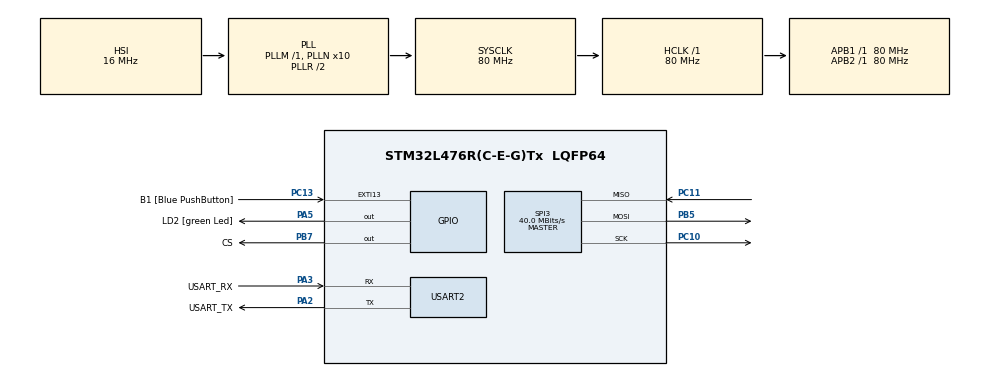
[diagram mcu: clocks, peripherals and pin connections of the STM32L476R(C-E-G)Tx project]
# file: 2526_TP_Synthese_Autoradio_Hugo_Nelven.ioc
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FREERTOS.Tasks01=defaultTask,0,128,StartDefaultTask,Default,NULL,Dynamic,NULL,NULL
FREERTOS.configTOTAL_HEAP_SIZE=30000
FREERTOS.configUSE_NEWLIB_REENTRANT=1
Mcu.Family=STM32L4
Mcu.Name=STM32L476R(C-E-G)Tx
Mcu.Package=LQFP64
NVIC.PriorityGroup=NVIC_PRIORITYGROUP_4
NVIC.SPI3_IRQn=true\:5\:0\:false\:false\:true\:true\:true\:true\:true
NVIC.TIM6_DAC_IRQn=true\:15\:0\:false\:false\:true\:false\:false\:true\:true
NVIC.TimeBase=TIM6_DAC_IRQn
NVIC.TimeBaseIP=TIM6
NVIC.USART2_IRQn=true\:5\:0\:false\:false\:true\:true\:true\:true\:true
PA13\ (JTMS-SWDIO).GPIO_Label=TMS
PA13\ (JTMS-SWDIO).Mode=Serial_Wire
PA13\ (JTMS-SWDIO).Signal=SYS_JTMS-SWDIO
PA14\ (JTCK-SWCLK).GPIO_Label=TCK
PA14\ (JTCK-SWCLK).Mode=Serial_Wire
PA14\ (JTCK-SWCLK).Signal=SYS_JTCK-SWCLK
PA2.GPIO_Label=USART_TX
PA2.GPIO_Mode=GPIO_MODE_AF_PP
PA2.GPIO_PuPd=GPIO_NOPULL
PA2.GPIO_Speed=GPIO_SPEED_FREQ_VERY_HIGH
PA2.Mode=Asynchronous
PA2.Signal=USART2_TX
PA3.GPIO_Label=USART_RX
PA3.GPIO_Mode=GPIO_MODE_AF_PP
PA3.GPIO_PuPd=GPIO_NOPULL
PA3.GPIO_Speed=GPIO_SPEED_FREQ_VERY_HIGH
PA3.Mode=Asynchronous
PA3.Signal=USART2_RX
PA5.GPIO_Label=LD2 [green Led]
PA5.GPIO_ModeDefaultOutputPP=GPIO_MODE_OUTPUT_PP
PA5.GPIO_PuPd=GPIO_NOPULL
PA5.GPIO_Speed=GPIO_SPEED_FREQ_LOW
PA5.Signal=GPIO_Output
PB3\ (JTDO-TRACESWO).GPIO_Label=SWO
PB3\ (JTDO-TRACESWO).Signal=SYS_JTDO-SWO
PB5.Mode=Full_Duplex_Master
PB5.Signal=SPI3_MOSI
PB7.GPIO_Label=CS
PB7.Signal=GPIO_Output
PC10.Mode=Full_Duplex_Master
PC10.Signal=SPI3_SCK
PC11.Mode=Full_Duplex_Master
PC11.Signal=SPI3_MISO
PC13.GPIO_Label=B1 [Blue PushButton]
PC13.GPIO_ModeDefaultEXTI=GPIO_MODE_IT_FALLING
PC13.GPIO_PuPd=GPIO_NOPULL
PC13.Signal=GPXTI13
PC14-OSC32_IN\ (PC14).Mode=LSE-External-Oscillator
PC14-OSC32_IN\ (PC14).Signal=RCC_OSC32_IN
PC15-OSC32_OUT\ (PC15).Mode=LSE-External-Oscillator
PC15-OSC32_OUT\ (PC15).Signal=RCC_OSC32_OUT
PH0-OSC_IN\ (PH0).Signal=RCC_OSC_IN
PH1-OSC_OUT\ (PH1).Signal=RCC_OSC_OUT
ProjectManager.HeapSize=0x200
ProjectManager.StackSize=0x400
ProjectManager.TargetToolchain=STM32CubeIDE
RCC.ADCFreq_Value=64000000
RCC.AHBFreq_Value=80000000
RCC.APB1Freq_Value=80000000
RCC.APB1TimFreq_Value=80000000
RCC.APB2Freq_Value=80000000
RCC.APB2TimFreq_Value=80000000
RCC.CortexFreq_Value=80000000
RCC.HCLKFreq_Value=80000000
RCC.HSE_VALUE=8000000
RCC.HSI_VALUE=16000000
RCC.MSI_VALUE=4000000
RCC.PLLN=10
RCC.PLLSourceVirtual=RCC_PLLSOURCE_HSI
RCC.PREFETCH_ENABLE=1
RCC.SYSCLKFreq_VALUE=80000000
RCC.SYSCLKSource=RCC_SYSCLKSOURCE_PLLCLK
RCC.USBFreq_Value=64000000
RCC.VCOOutputFreq_Value=160000000
SPI3.CalculateBaudRate=40.0 MBits/s
SPI3.DataSize=SPI_DATASIZE_4BIT
SPI3.Direction=SPI_DIRECTION_2LINES
SPI3.Mode=SPI_MODE_MASTER
SPI3.VirtualType=VM_MASTER
USART2.VirtualMode-Asynchronous=VM_ASYNC
VP_FREERTOS_VS_CMSIS_V1.Mode=CMSIS_V1
VP_SYS_VS_tim6.Mode=TIM6
board=NUCLEO-L476RG

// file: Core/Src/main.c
/* USER CODE BEGIN Header */
/**
 ******************************************************************************
 * @file           : main.c
 * @brief          : Main program body
 ******************************************************************************
 * @attention
 *
 * Copyright (c) 2025 STMicroelectronics.
 * All rights reserved.
 *
 * This software is licensed under terms that can be found in the LICENSE file
 * in the root directory of this software component.
 * If no LICENSE file comes with this software, it is provided AS-IS.
 *
 ******************************************************************************
 */
/* USER CODE END Header */
#include "main.h"
#include "cmsis_os.h"
#include "spi.h"
#include "usart.h"
#include "gpio.h"

/* USER CODE BEGIN Includes */
#include <stdio.h>
#include <stdlib.h> // pour atoi function

#include "shell.h"
#include "chenille.h"
/* USER CODE END Includes */

void SystemClock_Config(void);
void MX_FREERTOS_Init(void);

/* USER CODE BEGIN 0 */
int __io_putchar(int chr)
{
	HAL_UART_Transmit(&huart2, (uint8_t*)&chr, 1, HAL_MAX_DELAY);
	return chr;
}

uint8_t drv_uart_receive(char * pData, uint16_t size)
{
	HAL_UART_Receive(&huart2, (uint8_t*)pData, size, HAL_MAX_DELAY);
	return 0;
}

uint8_t drv_uart_transmit(char * pData, uint16_t size)
{
	HAL_UART_Transmit(&huart2, (uint8_t*)pData, size, HAL_MAX_DELAY);
	return 0;
}

h_shell_t h_shell =
{
		.drv_shell = {
				.drv_shell_transmit = drv_uart_transmit,
				.drv_shell_receive = drv_uart_receive
		}
};

int fonction(h_shell_t * h_shell, int argc, char ** argv)
{
	printf("Je suis une fonction bidon\r\n");

	printf("argc = %d\r\n", argc);

	for (int i = 0 ; i < argc ; i++)
	{
		printf("argv[%d] = %s\r\n", i, argv[i]);
	}

	return 0;
}

int addition(h_shell_t * h_shell, int argc, char ** argv)
{
	if (argc != 3)
	{
		printf("Error: expected two arguments\r\n");
		return -1;
	}

	int a = atoi(argv[1]);
	int b = atoi(argv[2]);
	int c = a + b;

	printf("%d + %d = %d\r\n", a, b, c);

	return 0;
}

void task_shell(void * unused)
{
	shell_init(&h_shell);
	shell_add(&h_shell, 'f', fonction, "Une fonction inutile");
	shell_add(&h_shell, 'a', addition, "Ma super addition");
	shell_run(&h_shell);

	// Une tâche ne doit *JAMAIS* retourner
	// Ici elle ne retourne pas parce qu'il y a une boucle infinie dans shell_run();
}

void HAL_UART_RxCpltCallback(UART_HandleTypeDef *huart)
{
	if (huart->Instance == USART2)	// LPUART1
	{
		// Caractère reçu : Donner le sémaphore pour débloquer task_shell
		shell_uart_rx_callback(&h_shell);
	}
}

void task_led(void * unused)
{
	for (;;)
	{
		HAL_GPIO_TogglePin(GPIOA, GPIO_PIN_5);
		vTaskDelay(250);
	}
}

void task_chenillard(void *unused)
{
	    uint8_t led_state = 0x01;
	    for (;;)
	    {
//	        // Allume la LED correspondante sur MCP23S17 port A
//	    	MCP23S17_WriteRegister(0x12, led_state);
//
//	        // Décale la LED à allumer
//	        led_state <<= 1;
//	        if (led_state == 0) {
//	            led_state = 0x01;  // Reset au début du chenillard
//	        }
//
//	        vTaskDelay(pdMS_TO_TICKS(200));  // délai 200 ms
//

	        MCP23S17_SetAllPinsHigh();
	    }
}

void vApplicationStackOverflowHook(TaskHandle_t xTask, char *pcTaskName)
{
	Error_Handler();
}

//void configureTimerForRunTimeStats(void)
//{
//	// Démarrer un timer
//	HAL_TIM_Base_Start(&htim2);
//}
//
//unsigned long getRunTimeCounterValue(void)
//{
//	static unsigned long value = 0;
//	static unsigned long counter_prev = 0;
//
//	unsigned long counter = __HAL_TIM_GET_COUNTER(&htim2);
//
//	if (counter < counter_prev)
//	{
//		value += 65535;
//	}
//
//	counter_prev = counter;
//
//	// Renvoyer la valeur du timer
//	return value + counter;
//}
/* USER CODE END 0 */

int main(void)
{

  /* MCU Configuration--------------------------------------------------------*/

  /* Reset of all peripherals, Initializes the Flash interface and the Systick. */
  HAL_Init();

  /* Configure the system clock */
  SystemClock_Config();

  /* Initialize all configured peripherals */
  MX_GPIO_Init();
  MX_USART2_UART_Init();
  MX_SPI3_Init();
  /* USER CODE BEGIN 2 */
  MCP23S17_Init();

	printf("==== Autoradio Hugo Nelven Start ====\r\n");
	if (xTaskCreate(task_shell, "Shell", 512, NULL, 1, NULL) != pdPASS)
	{
		printf("Error creating task Shell\r\n");
		Error_Handler();
	}

	if (xTaskCreate(task_led, "LED", 128, NULL, 2, NULL) != pdPASS)
	{
		printf("Error creating task LED\r\n");
		Error_Handler();
	}

	if (xTaskCreate(task_chenillard, "Chenillard", 512, NULL, 3, NULL) != pdPASS)
	{
		printf("Error creating task Chenillard\r\n");
		Error_Handler();
	}

	vTaskStartScheduler();
  /* USER CODE END 2 */

  /* Call init function for freertos objects (in cmsis_os2.c) */
  MX_FREERTOS_Init();

  /* Start scheduler */
  osKernelStart();

  /* We should never get here as control is now taken by the scheduler */

  /* Infinite loop */
	while (1)
	{

	}
}

void SystemClock_Config(void)
{
  RCC_OscInitTypeDef RCC_OscInitStruct = {0};
  RCC_ClkInitTypeDef RCC_ClkInitStruct = {0};

  /** Configure the main internal regulator output voltage
  */
  if (HAL_PWREx_ControlVoltageScaling(PWR_REGULATOR_VOLTAGE_SCALE1) != HAL_OK)
  {
    Error_Handler();
  }

  /** Initializes the RCC Oscillators according to the specified parameters
  * in the RCC_OscInitTypeDef structure.
  */
  RCC_OscInitStruct.OscillatorType = RCC_OSCILLATORTYPE_HSI;
  RCC_OscInitStruct.HSIState = RCC_HSI_ON;
  RCC_OscInitStruct.HSICalibrationValue = RCC_HSICALIBRATION_DEFAULT;
  RCC_OscInitStruct.PLL.PLLState = RCC_PLL_ON;
  RCC_OscInitStruct.PLL.PLLSource = RCC_PLLSOURCE_HSI;
  RCC_OscInitStruct.PLL.PLLM = 1;
  RCC_OscInitStruct.PLL.PLLN = 10;
  RCC_OscInitStruct.PLL.PLLP = RCC_PLLP_DIV7;
  RCC_OscInitStruct.PLL.PLLQ = RCC_PLLQ_DIV2;
  RCC_OscInitStruct.PLL.PLLR = RCC_PLLR_DIV2;
  if (HAL_RCC_OscConfig(&RCC_OscInitStruct) != HAL_OK)
  {
    Error_Handler();
  }

  /** Initializes the CPU, AHB and APB buses clocks
  */
  RCC_ClkInitStruct.ClockType = RCC_CLOCKTYPE_HCLK|RCC_CLOCKTYPE_SYSCLK
                              |RCC_CLOCKTYPE_PCLK1|RCC_CLOCKTYPE_PCLK2;
  RCC_ClkInitStruct.SYSCLKSource = RCC_SYSCLKSOURCE_PLLCLK;
  RCC_ClkInitStruct.AHBCLKDivider = RCC_SYSCLK_DIV1;
  RCC_ClkInitStruct.APB1CLKDivider = RCC_HCLK_DIV1;
  RCC_ClkInitStruct.APB2CLKDivider = RCC_HCLK_DIV1;

  if (HAL_RCC_ClockConfig(&RCC_ClkInitStruct, FLASH_LATENCY_4) != HAL_OK)
  {
    Error_Handler();
  }
}

void HAL_TIM_PeriodElapsedCallback(TIM_HandleTypeDef *htim)
{
  if (htim->Instance == TIM6)
  {
    HAL_IncTick();
  }
}

void Error_Handler(void)
{
	__disable_irq();
	while (1)
	{
	}
}
